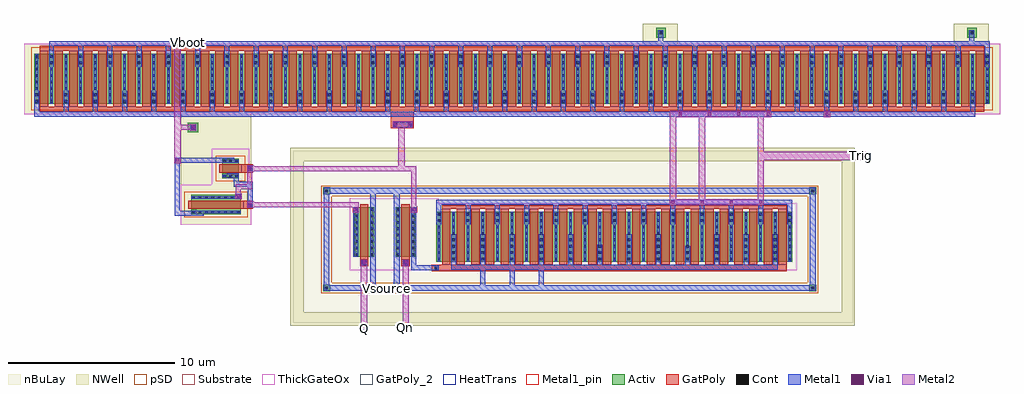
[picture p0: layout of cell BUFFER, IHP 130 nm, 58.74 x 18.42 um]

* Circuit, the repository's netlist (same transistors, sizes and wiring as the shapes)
** sch_path: /home/wsl_rks/Designs/redesign_Floating_Gate_Driver_2025/ALL_Floating_Gate/Floating_Gate/BUFFER.sch
.subckt BUFFER Q QN
*.PININFO Q:B QN:B
M13 net1 net2 Vboot Vboot sg13_hv_pmos w=1u l=0.5u ng=1 m=1
M14 net2 net1 Vboot Vboot sg13_hv_pmos w=3u l=0.5u ng=1 m=1
M15 TRIG net2 Vboot Vboot sg13_hv_pmos w=195u l=0.5u ng=65 m=1
M16 vsource Q net1 vsource sg13_hv_nmos w=3u l=0.5u ng=1 m=1
M17 vsource QN net2 vsource sg13_hv_nmos w=3u l=0.5u ng=1 m=1
M18 vsource net2 TRIG vsource sg13_hv_nmos w=72u l=0.5u ng=24 m=1
.ends
.end

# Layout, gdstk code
from math import pi, radians
import gdstk
lib = gdstk.Library(unit=1e-6, precision=1e-09)
def R(c, l, rs):  # rectangles x0, y0, x1, y1
    for r in rs: c.add(gdstk.rectangle(r[:2], r[2:], *l))
def A(c, l, x, y, w, h, nx, ny, dx, dy):  # array of equal rectangles
    R(c, l, [(x+i*dx, y+j*dy, x+i*dx+w, y+j*dy+h) for i in range(nx) for j in range(ny)])
def P(c, l, *ps):  # polygons
    for p in ps: c.add(gdstk.Polygon(p, *l))
Activ = (1, 0)
GatPoly = (5, 0)
GatPoly_2 = (5, 2)
Cont = (6, 0)
Metal1 = (8, 0)
Metal1_pin = (8, 2)
Metal2 = (10, 0)
pSD = (14, 0)
Via1 = (19, 0)
NWell = (31, 0)
nBuLay = (32, 0)
Substrate = (40, 0)
ThickGateOx = (44, 0)
HeatTrans = (51, 0)

pmoshv_1 = lib.new_cell('pmosHV$1')
A(pmoshv_1, Activ, 0, 0, 0.3, 0.3, 66, 1, 0.88, 0)
R(pmoshv_1, Activ, [(0,0,57.5,3)])
A(pmoshv_1, GatPoly, 0.34, -0.18, 0.5, 3.36, 65, 1, 0.88, 0)
R(pmoshv_1, GatPoly_2, [(0.34,-0.18,0.84,3.18)])
A(pmoshv_1, Cont, 0.07, 0.07, 0.16, 0.16, 66, 7, 0.88, 0.385)
A(pmoshv_1, Cont, 0.07, 2.77, 0.16, 0.16, 66, 1, 0.88, 0)
A(pmoshv_1, Metal1, 0.07, 0, 0.16, 3, 66, 1, 0.88, 0)
R(pmoshv_1, Metal1_pin, [(0.07,0,0.23,3), (0.95,0,1.11,3)])
R(pmoshv_1, pSD, [(-0.18,-0.4,57.68,3.4)])
R(pmoshv_1, NWell, [(-0.62,-0.62,58.12,3.62)])
R(pmoshv_1, Substrate, [(57.2,0,57.5,0.3)])
R(pmoshv_1, ThickGateOx, [(-0.62,-0.62,58.12,3.62)])
A(pmoshv_1, HeatTrans, 0.34, -0.18, 0.5, 3.36, 65, 1, 0.88, 0)
pmoshv_1.add(gdstk.Label('pmosHV', (0.59,1.5), layer=63, texttype=0))
pmoshv_1.add(gdstk.Label('pmos', (0.59,1.5), layer=51, texttype=0))
pmoshv_1.add(gdstk.Label('pmos', (1.47,1.5), layer=51, texttype=0))
pmoshv_1.add(gdstk.Label('pmos', (2.35,1.5), layer=51, texttype=0))
pmoshv_1.add(gdstk.Label('pmos', (3.23,1.5), layer=51, texttype=0))
pmoshv_1.add(gdstk.Label('pmos', (4.11,1.5), layer=51, texttype=0))
pmoshv_1.add(gdstk.Label('pmos', (4.99,1.5), layer=51, texttype=0))
pmoshv_1.add(gdstk.Label('pmos', (5.87,1.5), layer=51, texttype=0))
pmoshv_1.add(gdstk.Label('pmos', (6.75,1.5), layer=51, texttype=0))
pmoshv_1.add(gdstk.Label('pmos', (7.63,1.5), layer=51, texttype=0))
pmoshv_1.add(gdstk.Label('pmos', (8.51,1.5), layer=51, texttype=0))
pmoshv_1.add(gdstk.Label('pmos', (9.39,1.5), layer=51, texttype=0))
pmoshv_1.add(gdstk.Label('pmos', (10.27,1.5), layer=51, texttype=0))
pmoshv_1.add(gdstk.Label('pmos', (11.15,1.5), layer=51, texttype=0))
pmoshv_1.add(gdstk.Label('pmos', (12.03,1.5), layer=51, texttype=0))
pmoshv_1.add(gdstk.Label('pmos', (12.91,1.5), layer=51, texttype=0))
pmoshv_1.add(gdstk.Label('pmos', (13.79,1.5), layer=51, texttype=0))
pmoshv_1.add(gdstk.Label('pmos', (14.67,1.5), layer=51, texttype=0))
pmoshv_1.add(gdstk.Label('pmos', (15.55,1.5), layer=51, texttype=0))
pmoshv_1.add(gdstk.Label('pmos', (16.43,1.5), layer=51, texttype=0))
pmoshv_1.add(gdstk.Label('pmos', (17.31,1.5), layer=51, texttype=0))
pmoshv_1.add(gdstk.Label('pmos', (18.19,1.5), layer=51, texttype=0))
pmoshv_1.add(gdstk.Label('pmos', (19.07,1.5), layer=51, texttype=0))
pmoshv_1.add(gdstk.Label('pmos', (19.95,1.5), layer=51, texttype=0))
pmoshv_1.add(gdstk.Label('pmos', (20.83,1.5), layer=51, texttype=0))
pmoshv_1.add(gdstk.Label('pmos', (21.71,1.5), layer=51, texttype=0))
pmoshv_1.add(gdstk.Label('pmos', (22.59,1.5), layer=51, texttype=0))
pmoshv_1.add(gdstk.Label('pmos', (23.47,1.5), layer=51, texttype=0))
pmoshv_1.add(gdstk.Label('pmos', (24.35,1.5), layer=51, texttype=0))
pmoshv_1.add(gdstk.Label('pmos', (25.23,1.5), layer=51, texttype=0))
pmoshv_1.add(gdstk.Label('pmos', (26.11,1.5), layer=51, texttype=0))
pmoshv_1.add(gdstk.Label('pmos', (26.99,1.5), layer=51, texttype=0))
pmoshv_1.add(gdstk.Label('pmos', (27.87,1.5), layer=51, texttype=0))
pmoshv_1.add(gdstk.Label('pmos', (28.75,1.5), layer=51, texttype=0))
pmoshv_1.add(gdstk.Label('pmos', (29.63,1.5), layer=51, texttype=0))
pmoshv_1.add(gdstk.Label('pmos', (30.51,1.5), layer=51, texttype=0))
pmoshv_1.add(gdstk.Label('pmos', (31.39,1.5), layer=51, texttype=0))
pmoshv_1.add(gdstk.Label('pmos', (32.27,1.5), layer=51, texttype=0))
pmoshv_1.add(gdstk.Label('pmos', (33.15,1.5), layer=51, texttype=0))
pmoshv_1.add(gdstk.Label('pmos', (34.03,1.5), layer=51, texttype=0))
pmoshv_1.add(gdstk.Label('pmos', (34.91,1.5), layer=51, texttype=0))
pmoshv_1.add(gdstk.Label('pmos', (35.79,1.5), layer=51, texttype=0))
pmoshv_1.add(gdstk.Label('pmos', (36.67,1.5), layer=51, texttype=0))
pmoshv_1.add(gdstk.Label('pmos', (37.55,1.5), layer=51, texttype=0))
pmoshv_1.add(gdstk.Label('pmos', (38.43,1.5), layer=51, texttype=0))
pmoshv_1.add(gdstk.Label('pmos', (39.31,1.5), layer=51, texttype=0))
pmoshv_1.add(gdstk.Label('pmos', (40.19,1.5), layer=51, texttype=0))
pmoshv_1.add(gdstk.Label('pmos', (41.07,1.5), layer=51, texttype=0))
pmoshv_1.add(gdstk.Label('pmos', (41.95,1.5), layer=51, texttype=0))
pmoshv_1.add(gdstk.Label('pmos', (42.83,1.5), layer=51, texttype=0))
pmoshv_1.add(gdstk.Label('pmos', (43.71,1.5), layer=51, texttype=0))
pmoshv_1.add(gdstk.Label('pmos', (44.59,1.5), layer=51, texttype=0))
pmoshv_1.add(gdstk.Label('pmos', (45.47,1.5), layer=51, texttype=0))
pmoshv_1.add(gdstk.Label('pmos', (46.35,1.5), layer=51, texttype=0))
pmoshv_1.add(gdstk.Label('pmos', (47.23,1.5), layer=51, texttype=0))
pmoshv_1.add(gdstk.Label('pmos', (48.11,1.5), layer=51, texttype=0))
pmoshv_1.add(gdstk.Label('pmos', (48.99,1.5), layer=51, texttype=0))
pmoshv_1.add(gdstk.Label('pmos', (49.87,1.5), layer=51, texttype=0))
pmoshv_1.add(gdstk.Label('pmos', (50.75,1.5), layer=51, texttype=0))
pmoshv_1.add(gdstk.Label('pmos', (51.63,1.5), layer=51, texttype=0))
pmoshv_1.add(gdstk.Label('pmos', (52.51,1.5), layer=51, texttype=0))
pmoshv_1.add(gdstk.Label('pmos', (53.39,1.5), layer=51, texttype=0))
pmoshv_1.add(gdstk.Label('pmos', (54.27,1.5), layer=51, texttype=0))
pmoshv_1.add(gdstk.Label('pmos', (55.15,1.5), layer=51, texttype=0))
pmoshv_1.add(gdstk.Label('pmos', (56.03,1.5), layer=51, texttype=0))
pmoshv_1.add(gdstk.Label('pmos', (56.91,1.5), layer=51, texttype=0))

c_m1 = lib.new_cell('C_M1')
R(c_m1, Cont, [(-0.08,-0.08,0.08,0.08)])
R(c_m1, Metal1, [(-0.15,-0.15,0.15,0.15)])

m1_m2 = lib.new_cell('M1_M2')
R(m1_m2, Metal1, [(-0.15,-0.15,0.15,0.15)])
R(m1_m2, Metal2, [(-0.19,-0.19,0.19,0.19)])
R(m1_m2, Via1, [(-0.095,-0.095,0.095,0.095)])

nmoshv = lib.new_cell('nmosHV')
R(nmoshv, Activ, [(0,0,0.3,0.3), (0,0,1.18,3), (0.88,0,1.18,0.3)])
R(nmoshv, GatPoly, [(0.34,-0.18,0.84,3.18)])
R(nmoshv, GatPoly_2, [(0.34,-0.18,0.84,3.18)])
A(nmoshv, Cont, 0.07, 0.07, 0.16, 0.16, 1, 7, 0, 0.385)
A(nmoshv, Cont, 0.95, 0.07, 0.16, 0.16, 1, 7, 0, 0.385)
R(nmoshv, Cont, [(0.07,2.77,0.23,2.93), (0.95,2.77,1.11,2.93)])
R(nmoshv, Metal1, [(0.07,0,0.23,3), (0.95,0,1.11,3)])
R(nmoshv, Metal1_pin, [(0.07,0,0.23,3), (0.95,0,1.11,3)])
R(nmoshv, ThickGateOx, [(-0.27,-0.52,1.45,3.52)])
R(nmoshv, HeatTrans, [(0.34,-0.18,0.84,3.18)])
nmoshv.add(gdstk.Label('nmosHV', (0.59,1.5), layer=63, texttype=0))
nmoshv.add(gdstk.Label('nmosHV', (0.59,1.5), layer=51, texttype=0))

pmoshv = lib.new_cell('pmosHV')
R(pmoshv, Activ, [(0,0,0.3,0.3), (0,0,1.18,1), (0.88,0,1.18,0.3)])
R(pmoshv, GatPoly, [(0.34,-0.18,0.84,1.18)])
R(pmoshv, GatPoly_2, [(0.34,-0.18,0.84,1.18)])
A(pmoshv, Cont, 0.07, 0.07, 0.16, 0.16, 1, 3, 0, 0.35)
A(pmoshv, Cont, 0.95, 0.07, 0.16, 0.16, 1, 3, 0, 0.35)
R(pmoshv, Metal1, [(0.07,0,0.23,1), (0.95,0,1.11,1)])
R(pmoshv, Metal1_pin, [(0.07,0,0.23,1), (0.95,0,1.11,1)])
R(pmoshv, pSD, [(-0.18,-0.4,1.36,1.4)])
R(pmoshv, NWell, [(-0.62,-0.62,1.8,1.62)])
R(pmoshv, Substrate, [(0.88,0,1.18,0.3)])
R(pmoshv, ThickGateOx, [(-0.62,-0.62,1.8,1.62)])
R(pmoshv, HeatTrans, [(0.34,-0.18,0.84,1.18)])
pmoshv.add(gdstk.Label('pmosHV', (0.59,0.5), layer=63, texttype=0))
pmoshv.add(gdstk.Label('pmos', (0.59,0.5), layer=51, texttype=0))

pmoshv_2 = lib.new_cell('pmosHV$2')
R(pmoshv_2, Activ, [(0,0,0.3,0.3), (0,0,1.18,3), (0.88,0,1.18,0.3)])
R(pmoshv_2, GatPoly, [(0.34,-0.18,0.84,3.18)])
R(pmoshv_2, GatPoly_2, [(0.34,-0.18,0.84,3.18)])
A(pmoshv_2, Cont, 0.07, 0.07, 0.16, 0.16, 1, 7, 0, 0.385)
A(pmoshv_2, Cont, 0.95, 0.07, 0.16, 0.16, 1, 7, 0, 0.385)
R(pmoshv_2, Cont, [(0.07,2.77,0.23,2.93), (0.95,2.77,1.11,2.93)])
R(pmoshv_2, Metal1, [(0.07,0,0.23,3), (0.95,0,1.11,3)])
R(pmoshv_2, Metal1_pin, [(0.07,0,0.23,3), (0.95,0,1.11,3)])
R(pmoshv_2, pSD, [(-0.18,-0.4,1.36,3.4)])
R(pmoshv_2, NWell, [(-0.62,-0.62,1.8,3.62)])
R(pmoshv_2, Substrate, [(0.88,0,1.18,0.3)])
R(pmoshv_2, ThickGateOx, [(-0.62,-0.62,1.8,3.62)])
R(pmoshv_2, HeatTrans, [(0.34,-0.18,0.84,3.18)])
pmoshv_2.add(gdstk.Label('pmosHV', (0.59,1.5), layer=63, texttype=0))
pmoshv_2.add(gdstk.Label('pmos', (0.59,1.5), layer=51, texttype=0))

nmoshv_2 = lib.new_cell('nmosHV$2')
A(nmoshv_2, Activ, 0, 0, 0.3, 0.3, 25, 1, 0.88, 0)
R(nmoshv_2, Activ, [(0,0,21.42,3)])
A(nmoshv_2, GatPoly, 0.34, -0.18, 0.5, 3.36, 24, 1, 0.88, 0)
R(nmoshv_2, GatPoly_2, [(0.34,-0.18,0.84,3.18)])
A(nmoshv_2, Cont, 0.07, 0.07, 0.16, 0.16, 25, 7, 0.88, 0.385)
A(nmoshv_2, Cont, 0.07, 2.77, 0.16, 0.16, 25, 1, 0.88, 0)
A(nmoshv_2, Metal1, 0.07, 0, 0.16, 3, 25, 1, 0.88, 0)
R(nmoshv_2, Metal1_pin, [(0.07,0,0.23,3), (0.95,0,1.11,3)])
R(nmoshv_2, ThickGateOx, [(-0.27,-0.52,21.69,3.52)])
A(nmoshv_2, HeatTrans, 0.34, -0.18, 0.5, 3.36, 24, 1, 0.88, 0)
nmoshv_2.add(gdstk.Label('nmosHV', (0.59,1.5), layer=63, texttype=0))
nmoshv_2.add(gdstk.Label('nmosHV', (0.59,1.5), layer=51, texttype=0))
nmoshv_2.add(gdstk.Label('nmosHV', (1.47,1.5), layer=51, texttype=0))
nmoshv_2.add(gdstk.Label('nmosHV', (2.35,1.5), layer=51, texttype=0))
nmoshv_2.add(gdstk.Label('nmosHV', (3.23,1.5), layer=51, texttype=0))
nmoshv_2.add(gdstk.Label('nmosHV', (4.11,1.5), layer=51, texttype=0))
nmoshv_2.add(gdstk.Label('nmosHV', (4.99,1.5), layer=51, texttype=0))
nmoshv_2.add(gdstk.Label('nmosHV', (5.87,1.5), layer=51, texttype=0))
nmoshv_2.add(gdstk.Label('nmosHV', (6.75,1.5), layer=51, texttype=0))
nmoshv_2.add(gdstk.Label('nmosHV', (7.63,1.5), layer=51, texttype=0))
nmoshv_2.add(gdstk.Label('nmosHV', (8.51,1.5), layer=51, texttype=0))
nmoshv_2.add(gdstk.Label('nmosHV', (9.39,1.5), layer=51, texttype=0))
nmoshv_2.add(gdstk.Label('nmosHV', (10.27,1.5), layer=51, texttype=0))
nmoshv_2.add(gdstk.Label('nmosHV', (11.15,1.5), layer=51, texttype=0))
nmoshv_2.add(gdstk.Label('nmosHV', (12.03,1.5), layer=51, texttype=0))
nmoshv_2.add(gdstk.Label('nmosHV', (12.91,1.5), layer=51, texttype=0))
nmoshv_2.add(gdstk.Label('nmosHV', (13.79,1.5), layer=51, texttype=0))
nmoshv_2.add(gdstk.Label('nmosHV', (14.67,1.5), layer=51, texttype=0))
nmoshv_2.add(gdstk.Label('nmosHV', (15.55,1.5), layer=51, texttype=0))
nmoshv_2.add(gdstk.Label('nmosHV', (16.43,1.5), layer=51, texttype=0))
nmoshv_2.add(gdstk.Label('nmosHV', (17.31,1.5), layer=51, texttype=0))
nmoshv_2.add(gdstk.Label('nmosHV', (18.19,1.5), layer=51, texttype=0))
nmoshv_2.add(gdstk.Label('nmosHV', (19.07,1.5), layer=51, texttype=0))
nmoshv_2.add(gdstk.Label('nmosHV', (19.95,1.5), layer=51, texttype=0))
nmoshv_2.add(gdstk.Label('nmosHV', (20.83,1.5), layer=51, texttype=0))

buffer = lib.new_cell('BUFFER')
R(buffer, Activ, [(-18.83,-15.3,-18.41,-14.9), (10.435,-15.3,10.855,-14.9), (-18.83,-9.45,-18.41,-9.05), (10.435,-9.45,10.855,-9.05), (-26.99,-5.725,-26.34,-5.155), (1.21,-0.025,1.785,0.55), (19.925,-0.025,20.5,0.55)])
R(buffer, GatPoly, [(-12.29,-14.095,9.065,-13.69), (-11.675,-13.905,-11.175,-13.02), (-16.605,-13.805,-16.105,-13.365), (-14.125,-13.805,-13.625,-13.365), (-23.74,-10.335,-23.06,-9.835), (-11.67,-10.33,9.065,-10.115), (-14.755,-5.495,-13.375,-4.19), (-35.875,-4.485,20.945,-4.19), (-35.875,-0.83,20.945,-0.535)])
P(buffer, GatPoly, [(-23.74,-8.165),(-23.74,-7.665),(-23.06,-7.665),(-23.06,-7.985),(-23.06,-8.165)])
R(buffer, Metal1, [(-7.605,-15.185,-7.3,-13.145), (-9.365,-15.17,-9.065,-13.085), (-15.995,-15.105,-15.655,-9.33), (-14.575,-15.105,-14.235,-9.305), (-5.86,-15.105,-5.55,-13.185), (-14.455,-5.415,-13.695,-5.115), (1.35,-0.465,1.65,0.27), (20.065,-0.465,20.365,0.27)])
R(buffer, Metal2, [(-16.555,-17.63,-16.175,-13.765), (-14.055,-17.61,-13.675,-13.785), (-16.895,-10.19,-16.675,-9.93), (-14.36,-5.455,-13.7,-5.075)])
R(buffer, NWell, [(-27.4,-9.095,-23.16,-4.485), (19.125,-0.61,21.24,0.79)])
P(buffer, NWell, [(0.41,-0.61),(0.41,0.79),(1.96,0.79),(2.525,0.79),(2.525,-0.61)])
R(buffer, nBuLay, [(-20.63,-17.19,13.06,-6.84)])
R(buffer, ThickGateOx, [(-17.215,-14.03,-11.815,-12.635), (-15.675,-13.75,-14.705,-12.76), (-16.875,-12.865,-11.875,-9.71)])
buffer.add(gdstk.FlexPath([(21.14,-1.625),(21.14,-0.385),(-34.785,-0.385)], 0.3, ends="extended", simple_path=True, layer=8, datatype=0))  # Metal1
buffer.add(gdstk.FlexPath([(-36.06,-3.39),(-36.06,-4.63),(19.865,-4.63)], 0.3, ends="extended", simple_path=True, layer=8, datatype=0))  # Metal1
buffer.add(gdstk.FlexPath([(-1.75,-1.625),(-1.75,-0.385)], 0.3, ends="extended", simple_path=True, layer=8, datatype=0))  # Metal1
buffer.add(gdstk.FlexPath([(-3.5,-1.625),(-3.5,-0.385)], 0.3, ends="extended", simple_path=True, layer=8, datatype=0))  # Metal1
buffer.add(gdstk.FlexPath([(19.38,-1.625),(19.38,-0.455)], 0.3, ends="extended", simple_path=True, layer=8, datatype=0))  # Metal1
buffer.add(gdstk.FlexPath([(-4.37,-3.39),(-4.37,-4.535)], 0.3, ends="extended", simple_path=True, layer=8, datatype=0))  # Metal1
buffer.add(gdstk.FlexPath([(-2.615,-3.39),(-2.615,-4.54)], 0.3, ends="extended", simple_path=True, layer=8, datatype=0))  # Metal1
buffer.add(gdstk.FlexPath([(-0.845,-3.39),(-0.845,-4.525)], 0.3, ends="extended", simple_path=True, layer=8, datatype=0))  # Metal1
buffer.add(gdstk.FlexPath([(0.905,-3.39),(0.905,-4.53)], 0.3, ends="extended", simple_path=True, layer=8, datatype=0))  # Metal1
buffer.add(gdstk.FlexPath([(2.655,-3.39),(2.655,-4.53)], 0.3, ends="extended", simple_path=True, layer=8, datatype=0))  # Metal1
buffer.add(gdstk.FlexPath([(4.42,-3.39),(4.42,-4.555)], 0.3, ends="extended", simple_path=True, layer=8, datatype=0))  # Metal1
buffer.add(gdstk.FlexPath([(6.185,-3.39),(6.185,-4.48)], 0.3, ends="extended", simple_path=True, layer=8, datatype=0))  # Metal1
buffer.add(gdstk.FlexPath([(7.95,-3.39),(7.95,-4.57)], 0.3, ends="extended", simple_path=True, layer=8, datatype=0))  # Metal1
buffer.add(gdstk.FlexPath([(9.705,-3.39),(9.705,-4.59)], 0.3, ends="extended", simple_path=True, layer=8, datatype=0))  # Metal1
buffer.add(gdstk.FlexPath([(11.47,-3.39),(11.47,-4.575)], 0.3, ends="extended", simple_path=True, layer=8, datatype=0))  # Metal1
buffer.add(gdstk.FlexPath([(13.22,-3.39),(13.22,-4.53)], 0.3, ends="extended", simple_path=True, layer=8, datatype=0))  # Metal1
buffer.add(gdstk.FlexPath([(14.99,-3.39),(14.99,-4.55)], 0.3, ends="extended", simple_path=True, layer=8, datatype=0))  # Metal1
buffer.add(gdstk.FlexPath([(16.74,-3.39),(16.74,-4.54)], 0.3, ends="extended", simple_path=True, layer=8, datatype=0))  # Metal1
buffer.add(gdstk.FlexPath([(18.51,-3.39),(18.51,-4.555)], 0.3, ends="extended", simple_path=True, layer=8, datatype=0))  # Metal1
buffer.add(gdstk.FlexPath([(19.675,-4.63),(20.26,-4.63),(20.26,-3.39)], 0.3, ends="extended", simple_path=True, layer=8, datatype=0))  # Metal1
buffer.add(gdstk.FlexPath([(14.095,-1.625),(14.095,-0.48)], 0.3, ends="extended", simple_path=True, layer=8, datatype=0))  # Metal1
buffer.add(gdstk.FlexPath([(12.325,-1.625),(12.325,-0.475)], 0.3, ends="extended", simple_path=True, layer=8, datatype=0))  # Metal1
buffer.add(gdstk.FlexPath([(7.04,-1.625),(7.04,-0.48)], 0.3, ends="extended", simple_path=True, layer=8, datatype=0))  # Metal1
buffer.add(gdstk.FlexPath([(1.77,-1.625),(1.77,-0.535)], 0.3, ends="extended", simple_path=True, layer=8, datatype=0))  # Metal1
buffer.add(gdstk.FlexPath([(0.02,-1.625),(0.02,-0.535)], 0.3, ends="extended", simple_path=True, layer=8, datatype=0))  # Metal1
buffer.add(gdstk.FlexPath([(15.855,-1.625),(15.855,-0.535)], 0.3, ends="extended", simple_path=True, layer=8, datatype=0))  # Metal1
buffer.add(gdstk.FlexPath([(8.8,-1.625),(8.8,-0.535)], 0.3, ends="extended", simple_path=True, layer=8, datatype=0))  # Metal1
buffer.add(gdstk.FlexPath([(3.535,-1.625),(3.535,-0.535)], 0.3, ends="extended", simple_path=True, layer=8, datatype=0))  # Metal1
buffer.add(gdstk.FlexPath([(-6.12,-3.39),(-6.12,-4.535)], 0.3, ends="extended", simple_path=True, layer=8, datatype=0))  # Metal1
buffer.add(gdstk.FlexPath([(-5.27,-1.625),(-5.27,-0.465)], 0.3, ends="extended", simple_path=True, layer=8, datatype=0))  # Metal1
buffer.add(gdstk.FlexPath([(-7.025,-1.625),(-7.025,-0.48)], 0.3, ends="extended", simple_path=True, layer=8, datatype=0))  # Metal1
buffer.add(gdstk.FlexPath([(-6.12,-3.39),(-6.12,-4.535)], 0.3, ends="extended", simple_path=True, layer=8, datatype=0))  # Metal1
buffer.add(gdstk.FlexPath([(-4.37,-3.39),(-4.37,-4.535)], 0.3, ends="extended", simple_path=True, layer=8, datatype=0))  # Metal1
buffer.add(gdstk.FlexPath([(-2.615,-3.39),(-2.615,-4.54)], 0.3, ends="extended", simple_path=True, layer=8, datatype=0))  # Metal1
buffer.add(gdstk.FlexPath([(-0.845,-3.39),(-0.845,-4.525)], 0.3, ends="extended", simple_path=True, layer=8, datatype=0))  # Metal1
buffer.add(gdstk.FlexPath([(0.905,-3.39),(0.905,-4.53)], 0.3, ends="extended", simple_path=True, layer=8, datatype=0))  # Metal1
buffer.add(gdstk.FlexPath([(2.655,-3.39),(2.655,-4.53)], 0.3, ends="extended", simple_path=True, layer=8, datatype=0))  # Metal1
buffer.add(gdstk.FlexPath([(4.42,-3.39),(4.42,-4.555)], 0.3, ends="extended", simple_path=True, layer=8, datatype=0))  # Metal1
buffer.add(gdstk.FlexPath([(6.185,-3.39),(6.185,-4.48)], 0.3, ends="extended", simple_path=True, layer=8, datatype=0))  # Metal1
buffer.add(gdstk.FlexPath([(7.95,-3.39),(7.95,-4.57)], 0.3, ends="extended", simple_path=True, layer=8, datatype=0))  # Metal1
buffer.add(gdstk.FlexPath([(9.705,-3.39),(9.705,-4.59)], 0.3, ends="extended", simple_path=True, layer=8, datatype=0))  # Metal1
buffer.add(gdstk.FlexPath([(11.47,-3.39),(11.47,-4.575)], 0.3, ends="extended", simple_path=True, layer=8, datatype=0))  # Metal1
buffer.add(gdstk.FlexPath([(13.22,-3.39),(13.22,-4.53)], 0.3, ends="extended", simple_path=True, layer=8, datatype=0))  # Metal1
buffer.add(gdstk.FlexPath([(14.99,-3.39),(14.99,-4.55)], 0.3, ends="extended", simple_path=True, layer=8, datatype=0))  # Metal1
buffer.add(gdstk.FlexPath([(16.74,-3.39),(16.74,-4.54)], 0.3, ends="extended", simple_path=True, layer=8, datatype=0))  # Metal1
buffer.add(gdstk.FlexPath([(18.51,-3.39),(18.51,-4.555)], 0.3, ends="extended", simple_path=True, layer=8, datatype=0))  # Metal1
buffer.add(gdstk.FlexPath([(19.675,-4.63),(19.87,-4.63),(20.26,-4.63),(20.26,-3.39)], 0.3, ends="extended", simple_path=True, layer=8, datatype=0))  # Metal1
buffer.add(gdstk.FlexPath([(19.38,-1.625),(19.38,-0.455)], 0.3, ends="extended", simple_path=True, layer=8, datatype=0))  # Metal1
buffer.add(gdstk.FlexPath([(15.855,-1.625),(15.855,-0.535)], 0.3, ends="extended", simple_path=True, layer=8, datatype=0))  # Metal1
buffer.add(gdstk.FlexPath([(14.095,-1.625),(14.095,-0.48)], 0.3, ends="extended", simple_path=True, layer=8, datatype=0))  # Metal1
buffer.add(gdstk.FlexPath([(12.325,-1.625),(12.325,-0.475)], 0.3, ends="extended", simple_path=True, layer=8, datatype=0))  # Metal1
buffer.add(gdstk.FlexPath([(8.8,-1.625),(8.8,-0.535)], 0.3, ends="extended", simple_path=True, layer=8, datatype=0))  # Metal1
buffer.add(gdstk.FlexPath([(7.04,-1.625),(7.04,-0.48)], 0.3, ends="extended", simple_path=True, layer=8, datatype=0))  # Metal1
buffer.add(gdstk.FlexPath([(1.77,-1.625),(1.77,-0.535)], 0.3, ends="extended", simple_path=True, layer=8, datatype=0))  # Metal1
buffer.add(gdstk.FlexPath([(0.02,-1.625),(0.02,-0.535)], 0.3, ends="extended", simple_path=True, layer=8, datatype=0))  # Metal1
buffer.add(gdstk.FlexPath([(-1.75,-1.625),(-1.75,-0.385)], 0.3, ends="extended", simple_path=True, layer=8, datatype=0))  # Metal1
buffer.add(gdstk.FlexPath([(-3.5,-1.625),(-3.5,-0.385)], 0.3, ends="extended", simple_path=True, layer=8, datatype=0))  # Metal1
buffer.add(gdstk.FlexPath([(-5.27,-1.625),(-5.27,-0.465)], 0.3, ends="extended", simple_path=True, layer=8, datatype=0))  # Metal1
buffer.add(gdstk.FlexPath([(3.535,-1.625),(3.535,-0.535)], 0.3, ends="extended", simple_path=True, layer=8, datatype=0))  # Metal1
buffer.add(gdstk.FlexPath([(17.63,-1.625),(17.63,-0.455)], 0.3, ends="extended", simple_path=True, layer=8, datatype=0))  # Metal1
buffer.add(gdstk.FlexPath([(10.595,-1.625),(10.595,-0.455)], 0.3, ends="extended", simple_path=True, layer=8, datatype=0))  # Metal1
buffer.add(gdstk.FlexPath([(5.305,-1.625),(5.305,-0.455)], 0.3, ends="extended", simple_path=True, layer=8, datatype=0))  # Metal1
buffer.add(gdstk.FlexPath([(-7.01,-1.625),(-7.01,-0.455)], 0.3, ends="extended", simple_path=True, layer=8, datatype=0))  # Metal1
buffer.add(gdstk.FlexPath([(-9.65,-3.39),(-9.65,-4.55)], 0.3, ends="extended", simple_path=True, layer=8, datatype=0))  # Metal1
buffer.add(gdstk.FlexPath([(-10.55,-1.625),(-10.55,-0.48)], 0.3, ends="extended", simple_path=True, layer=8, datatype=0))  # Metal1
buffer.add(gdstk.FlexPath([(-12.305,-1.625),(-12.305,-0.475)], 0.3, ends="extended", simple_path=True, layer=8, datatype=0))  # Metal1
buffer.add(gdstk.FlexPath([(-14.075,-1.625),(-14.075,-0.49)], 0.3, ends="extended", simple_path=True, layer=8, datatype=0))  # Metal1
buffer.add(gdstk.FlexPath([(-15.825,-1.625),(-15.825,-0.485)], 0.3, ends="extended", simple_path=True, layer=8, datatype=0))  # Metal1
buffer.add(gdstk.FlexPath([(-17.575,-1.625),(-17.575,-0.485)], 0.3, ends="extended", simple_path=True, layer=8, datatype=0))  # Metal1
buffer.add(gdstk.FlexPath([(-19.34,-1.625),(-19.34,-0.46)], 0.3, ends="extended", simple_path=True, layer=8, datatype=0))  # Metal1
buffer.add(gdstk.FlexPath([(-21.105,-1.625),(-21.105,-0.535)], 0.3, ends="extended", simple_path=True, layer=8, datatype=0))  # Metal1
buffer.add(gdstk.FlexPath([(-22.87,-1.625),(-22.87,-0.445)], 0.3, ends="extended", simple_path=True, layer=8, datatype=0))  # Metal1
buffer.add(gdstk.FlexPath([(-24.625,-1.625),(-24.625,-0.425)], 0.3, ends="extended", simple_path=True, layer=8, datatype=0))  # Metal1
buffer.add(gdstk.FlexPath([(-26.39,-1.625),(-26.39,-0.44)], 0.3, ends="extended", simple_path=True, layer=8, datatype=0))  # Metal1
buffer.add(gdstk.FlexPath([(-28.14,-1.625),(-28.14,-0.485)], 0.3, ends="extended", simple_path=True, layer=8, datatype=0))  # Metal1
buffer.add(gdstk.FlexPath([(-29.91,-1.625),(-29.91,-0.465)], 0.3, ends="extended", simple_path=True, layer=8, datatype=0))  # Metal1
buffer.add(gdstk.FlexPath([(-31.66,-1.625),(-31.66,-0.475)], 0.3, ends="extended", simple_path=True, layer=8, datatype=0))  # Metal1
buffer.add(gdstk.FlexPath([(-33.43,-1.625),(-33.43,-0.46)], 0.3, ends="extended", simple_path=True, layer=8, datatype=0))  # Metal1
buffer.add(gdstk.FlexPath([(-34.595,-0.385),(-34.79,-0.385),(-35.18,-0.385),(-35.18,-1.625)], 0.3, ends="extended", simple_path=True, layer=8, datatype=0))  # Metal1
buffer.add(gdstk.FlexPath([(-8.8,-1.625),(-8.8,-0.48)], 0.3, ends="extended", simple_path=True, layer=8, datatype=0))  # Metal1
buffer.add(gdstk.FlexPath([(-34.3,-3.39),(-34.3,-4.56)], 0.3, ends="extended", simple_path=True, layer=8, datatype=0))  # Metal1
buffer.add(gdstk.FlexPath([(-30.775,-3.39),(-30.775,-4.48)], 0.3, ends="extended", simple_path=True, layer=8, datatype=0))  # Metal1
buffer.add(gdstk.FlexPath([(-29.015,-3.39),(-29.015,-4.535)], 0.3, ends="extended", simple_path=True, layer=8, datatype=0))  # Metal1
buffer.add(gdstk.FlexPath([(-27.245,-3.39),(-27.245,-4.54)], 0.3, ends="extended", simple_path=True, layer=8, datatype=0))  # Metal1
buffer.add(gdstk.FlexPath([(-23.72,-3.39),(-23.72,-4.48)], 0.3, ends="extended", simple_path=True, layer=8, datatype=0))  # Metal1
buffer.add(gdstk.FlexPath([(-21.96,-3.39),(-21.96,-4.535)], 0.3, ends="extended", simple_path=True, layer=8, datatype=0))  # Metal1
buffer.add(gdstk.FlexPath([(-16.69,-3.39),(-16.69,-4.48)], 0.3, ends="extended", simple_path=True, layer=8, datatype=0))  # Metal1
buffer.add(gdstk.FlexPath([(-18.455,-3.39),(-18.455,-4.48)], 0.3, ends="extended", simple_path=True, layer=8, datatype=0))  # Metal1
buffer.add(gdstk.FlexPath([(-14.94,-3.39),(-14.94,-4.48)], 0.3, ends="extended", simple_path=True, layer=8, datatype=0))  # Metal1
buffer.add(gdstk.FlexPath([(-13.17,-3.39),(-13.17,-4.63)], 0.3, ends="extended", simple_path=True, layer=8, datatype=0))  # Metal1
buffer.add(gdstk.FlexPath([(-32.55,-3.39),(-32.55,-4.56)], 0.3, ends="extended", simple_path=True, layer=8, datatype=0))  # Metal1
buffer.add(gdstk.FlexPath([(-25.515,-3.39),(-25.515,-4.56)], 0.3, ends="extended", simple_path=True, layer=8, datatype=0))  # Metal1
buffer.add(gdstk.FlexPath([(-20.225,-3.39),(-20.225,-4.56)], 0.3, ends="extended", simple_path=True, layer=8, datatype=0))  # Metal1
buffer.add(gdstk.FlexPath([(-7.91,-3.39),(-7.91,-4.56)], 0.3, ends="extended", simple_path=True, layer=8, datatype=0))  # Metal1
buffer.add(gdstk.FlexPath([(-11.42,-3.39),(-11.42,-4.63)], 0.3, ends="extended", simple_path=True, layer=8, datatype=0))  # Metal1
buffer.add(gdstk.FlexPath([(-24.325,-7.405),(-24.595,-7.405),(-27.6,-7.405),(-27.6,-10.595),(-26.165,-10.595)], 0.3, ends="extended", simple_path=True, layer=8, datatype=0))  # Metal1
buffer.add(gdstk.FlexPath([(-24.485,-8.345),(-24.055,-8.345),(-24.055,-8.85),(-23.21,-8.85),(-23.21,-10.08)], 0.3, ends="extended", simple_path=True, layer=8, datatype=0))  # Metal1
buffer.add(gdstk.FlexPath([(8.375,-12.03),(8.375,-13.84),(-10.98,-13.84)], 0.3, ends="extended", simple_path=True, layer=8, datatype=0))  # Metal1
buffer.add(gdstk.FlexPath([(-11.865,-11.1),(-11.865,-9.945),(9.26,-9.945)], 0.3, ends="extended", simple_path=True, layer=8, datatype=0))  # Metal1
buffer.add(gdstk.FlexPath([(-7.455,-12.03),(-7.455,-13.15)], 0.3, ends="extended", simple_path=True, layer=8, datatype=0))  # Metal1
buffer.add(gdstk.FlexPath([(-18.625,-9.255),(10.64,-9.255),(10.64,-15.105),(-18.625,-15.105),(-18.625,-9.255)], 0.35, ends="extended", simple_path=True, layer=8, datatype=0))  # Metal1
buffer.add(gdstk.FlexPath([(-10.1,-11.1),(-10.1,-10.115)], 0.3, ends="extended", simple_path=True, layer=8, datatype=0))  # Metal1
buffer.add(gdstk.FlexPath([(-16.865,-13.08),(-16.865,-10.38)], 0.3, ends="extended", simple_path=True, layer=8, datatype=0))  # Metal1
buffer.add(gdstk.FlexPath([(-13.365,-12.895),(-13.365,-10.38)], 0.3, ends="extended", simple_path=True, layer=8, datatype=0))  # Metal1
buffer.add(gdstk.FlexPath([(-12.045,-13.89),(-13.365,-13.89),(-13.365,-12.915)], 0.3, ends="extended", simple_path=True, layer=8, datatype=0))  # Metal1
buffer.add(gdstk.FlexPath([(-10.98,-12.03),(-10.98,-12.95),(-10.98,-13.69)], 0.3, ends="extended", simple_path=True, layer=8, datatype=0))  # Metal1
buffer.add(gdstk.FlexPath([(-9.215,-12.03),(-9.215,-13.125)], 0.3, ends="extended", simple_path=True, layer=8, datatype=0))  # Metal1
buffer.add(gdstk.FlexPath([(-8.34,-11.1),(-8.34,-10.095)], 0.3, ends="extended", simple_path=True, layer=8, datatype=0))  # Metal1
buffer.add(gdstk.FlexPath([(-5.7,-12.03),(-5.7,-13.145)], 0.3, ends="extended", simple_path=True, layer=8, datatype=0))  # Metal1
buffer.add(gdstk.FlexPath([(-3.94,-12.03),(-3.94,-13.755)], 0.3, ends="extended", simple_path=True, layer=8, datatype=0))  # Metal1
buffer.add(gdstk.FlexPath([(-2.185,-12.635),(-2.185,-13.728)], 0.3, ends="extended", simple_path=True, layer=8, datatype=0))  # Metal1
buffer.add(gdstk.FlexPath([(-0.415,-12.03),(-0.415,-13.825)], 0.3, ends="extended", simple_path=True, layer=8, datatype=0))  # Metal1
buffer.add(gdstk.FlexPath([(1.35,-12.03),(1.35,-13.755)], 0.3, ends="extended", simple_path=True, layer=8, datatype=0))  # Metal1
buffer.add(gdstk.FlexPath([(3.1,-12.7),(3.1,-13.791)], 0.3, ends="extended", simple_path=True, layer=8, datatype=0))  # Metal1
buffer.add(gdstk.FlexPath([(4.865,-12.03),(4.865,-13.755)], 0.3, ends="extended", simple_path=True, layer=8, datatype=0))  # Metal1
buffer.add(gdstk.FlexPath([(6.62,-12.03),(6.62,-13.835)], 0.3, ends="extended", simple_path=True, layer=8, datatype=0))  # Metal1
buffer.add(gdstk.FlexPath([(8.375,-12.03),(8.375,-13.035)], 0.3, ends="extended", simple_path=True, layer=8, datatype=0))  # Metal1
buffer.add(gdstk.FlexPath([(-1.3,-11.1),(-1.3,-10.045)], 0.3, ends="extended", simple_path=True, layer=8, datatype=0))  # Metal1
buffer.add(gdstk.FlexPath([(-3.055,-11.1),(-3.055,-10.095)], 0.3, ends="extended", simple_path=True, layer=8, datatype=0))  # Metal1
buffer.add(gdstk.FlexPath([(-4.82,-11.1),(-4.82,-10.095)], 0.3, ends="extended", simple_path=True, layer=8, datatype=0))  # Metal1
buffer.add(gdstk.FlexPath([(-6.58,-11.1),(-6.58,-10.115)], 0.3, ends="extended", simple_path=True, layer=8, datatype=0))  # Metal1
buffer.add(gdstk.FlexPath([(9.26,-11.1),(9.26,-10.025)], 0.3, ends="extended", simple_path=True, layer=8, datatype=0))  # Metal1
buffer.add(gdstk.FlexPath([(7.505,-11.1),(7.505,-9.985)], 0.3, ends="extended", simple_path=True, layer=8, datatype=0))  # Metal1
buffer.add(gdstk.FlexPath([(5.735,-11.1),(5.735,-10.05)], 0.3, ends="extended", simple_path=True, layer=8, datatype=0))  # Metal1
buffer.add(gdstk.FlexPath([(3.97,-11.1),(3.97,-10)], 0.3, ends="extended", simple_path=True, layer=8, datatype=0))  # Metal1
buffer.add(gdstk.FlexPath([(2.22,-11.1),(2.22,-10.02)], 0.3, ends="extended", simple_path=True, layer=8, datatype=0))  # Metal1
buffer.add(gdstk.FlexPath([(0.455,-11.1),(0.455,-10.095)], 0.3, ends="extended", simple_path=True, layer=8, datatype=0))  # Metal1
buffer.add(gdstk.FlexPath([(-27.6,-7.405),(-27.6,-0.425)], 0.38, ends="extended", simple_path=True, layer=10, datatype=0))  # Metal2
buffer.add(gdstk.FlexPath([(-14.115,-7.82),(-14.115,-5.265)], 0.38, ends="extended", simple_path=True, layer=10, datatype=0))  # Metal2
buffer.add(gdstk.FlexPath([(7.95,-4.63),(2.22,-4.63),(2.22,-9.945),(7.505,-9.945),(7.505,-4.64)], 0.38, ends="extended", simple_path=True, layer=10, datatype=0))  # Metal2
buffer.add(gdstk.FlexPath([(3.965,-9.945),(3.965,-4.705)], 0.38, ends="extended", simple_path=True, layer=10, datatype=0))  # Metal2
buffer.add(gdstk.FlexPath([(-26.635,-5.435),(-27.6,-5.435)], 0.3, ends="extended", simple_path=True, layer=10, datatype=0))  # Metal2
buffer.add(gdstk.FlexPath([(-23.935,-9),(-23.25,-9),(-23.25,-7.945)], 0.3, ends="extended", simple_path=True, layer=10, datatype=0))  # Metal2
buffer.add(gdstk.FlexPath([(-23.94,-9),(-23.94,-9.395)], 0.3, ends="extended", simple_path=True, layer=10, datatype=0))  # Metal2
buffer.add(gdstk.FlexPath([(-23.06,-7.91),(-13.365,-7.91),(-13.365,-10.38)], 0.3, ends="extended", simple_path=True, layer=10, datatype=0))  # Metal2
buffer.add(gdstk.FlexPath([(-16.865,-10.375),(-16.865,-10.08),(-23.12,-10.08)], 0.3, ends="extended", simple_path=True, layer=10, datatype=0))  # Metal2
buffer.add(gdstk.FlexPath([(7.77,-7.15),(13.61,-7.15),(13.61,-7.15)], 0.5, ends="extended", simple_path=True, layer=10, datatype=0))  # Metal2
buffer.add(gdstk.FlexPath([(-18.625,-9.255),(-18.625,-15.105),(10.64,-15.105),(10.64,-9.255),(-18.625,-9.255)], 0.64, ends="extended", simple_path=True, layer=14, datatype=0))  # pSD
buffer.add(gdstk.FlexPath([(-17.87,-16.965),(12.77,-16.965),(12.77,-7.065),(-20.405,-7.065),(-20.405,-16.965),(-17.87,-16.965)], 0.8, ends="extended", simple_path=True, layer=31, datatype=0))  # NWell
buffer.add(gdstk.Reference(pmoshv_1, (21.285,-1.01), rotation=pi))
buffer.add(gdstk.Reference(c_m1, (-12.03,-13.89), rotation=pi))
buffer.add(gdstk.Reference(m1_m2, (-27.6,-0.385), rotation=pi))
buffer.add(gdstk.Reference(c_m1, (-14.465,-5.265), rotation=pi))
buffer.add(gdstk.Reference(c_m1, (-13.64,-5.265), rotation=pi))
buffer.add(gdstk.Reference(m1_m2, (-14.465,-5.265), rotation=pi))
buffer.add(gdstk.Reference(m1_m2, (-13.64,-5.265), rotation=pi))
buffer.add(gdstk.Reference(m1_m2, (2.655,-4.63), rotation=pi))
buffer.add(gdstk.Reference(m1_m2, (4.42,-4.63), rotation=pi))
buffer.add(gdstk.Reference(m1_m2, (6.185,-4.63), rotation=pi))
buffer.add(gdstk.Reference(m1_m2, (7.95,-4.63), rotation=pi))
buffer.add(gdstk.Reference(m1_m2, (7.505,-9.945), rotation=pi))
buffer.add(gdstk.Reference(m1_m2, (5.735,-9.945), rotation=pi))
buffer.add(gdstk.Reference(m1_m2, (3.975,-9.945), rotation=pi))
buffer.add(gdstk.Reference(m1_m2, (2.22,-9.945), rotation=pi))
buffer.add(gdstk.Reference(c_m1, (10.64,-15.105), rotation=pi))
buffer.add(gdstk.Reference(c_m1, (10.64,-9.255), rotation=pi))
buffer.add(gdstk.Reference(m1_m2, (-16.865,-10.38), rotation=pi))
buffer.add(gdstk.Reference(m1_m2, (-13.365,-10.38), rotation=pi))
buffer.add(gdstk.Reference(m1_m2, (-13.865,-13.605), rotation=pi))
buffer.add(gdstk.Reference(m1_m2, (-16.365,-13.59), rotation=pi))
buffer.add(gdstk.Reference(c_m1, (-13.865,-13.605), rotation=pi))
buffer.add(gdstk.Reference(c_m1, (-16.365,-13.59), rotation=pi))
buffer.add(gdstk.Reference(nmoshv, (-15.765,-10.23), rotation=pi))
buffer.add(gdstk.Reference(c_m1, (-18.625,-15.105), rotation=pi))
buffer.add(gdstk.Reference(c_m1, (-18.625,-9.255), rotation=pi))
buffer.add(gdstk.Reference(nmoshv, (-13.285,-10.23), rotation=pi))
buffer.add(gdstk.Reference(m1_m2, (-27.6,-7.405), rotation=pi))
buffer.add(gdstk.Reference(m1_m2, (-23.93,-9.575), rotation=pi))
buffer.add(gdstk.Reference(m1_m2, (-23.21,-10.08), rotation=pi))
buffer.add(gdstk.Reference(m1_m2, (-23.21,-7.91), rotation=pi))
buffer.add(gdstk.Reference(c_m1, (-23.21,-7.91), rotation=pi))
buffer.add(gdstk.Reference(c_m1, (-23.21,-10.08), rotation=pi))
buffer.add(gdstk.Reference(pmoshv, (-24.905,-7.325), rotation=3*pi/2))
buffer.add(gdstk.Reference(pmoshv_2, (-26.78,-9.495), rotation=3*pi/2))
buffer.add(gdstk.Reference(nmoshv_2, (9.405,-10.51), rotation=pi))
buffer.add(gdstk.Reference(c_m1, (-26.645,-5.445), rotation=pi))
buffer.add(gdstk.Reference(m1_m2, (-26.645,-5.445), rotation=pi))
buffer.add(gdstk.Reference(c_m1, (1.5,0.265), rotation=pi))
buffer.add(gdstk.Reference(c_m1, (20.215,0.265), rotation=pi))
buffer.add(gdstk.Reference(m1_m2, (11.49,-4.63)))
buffer.add(gdstk.Label('Vboot', (-26.925,-0.335), layer=8, texttype=25))
buffer.add(gdstk.Label('Vsource', (-15.015,-15.105), layer=8, texttype=25))
buffer.add(gdstk.Label('Qn', (-13.845,-17.5), layer=10, texttype=25))
buffer.add(gdstk.Label('Q', (-16.355,-17.535), layer=10, texttype=25))
buffer.add(gdstk.Label('Trig', (13.535,-7.15), layer=10, texttype=25))

lib.write_gds('BUFFER.gds')
